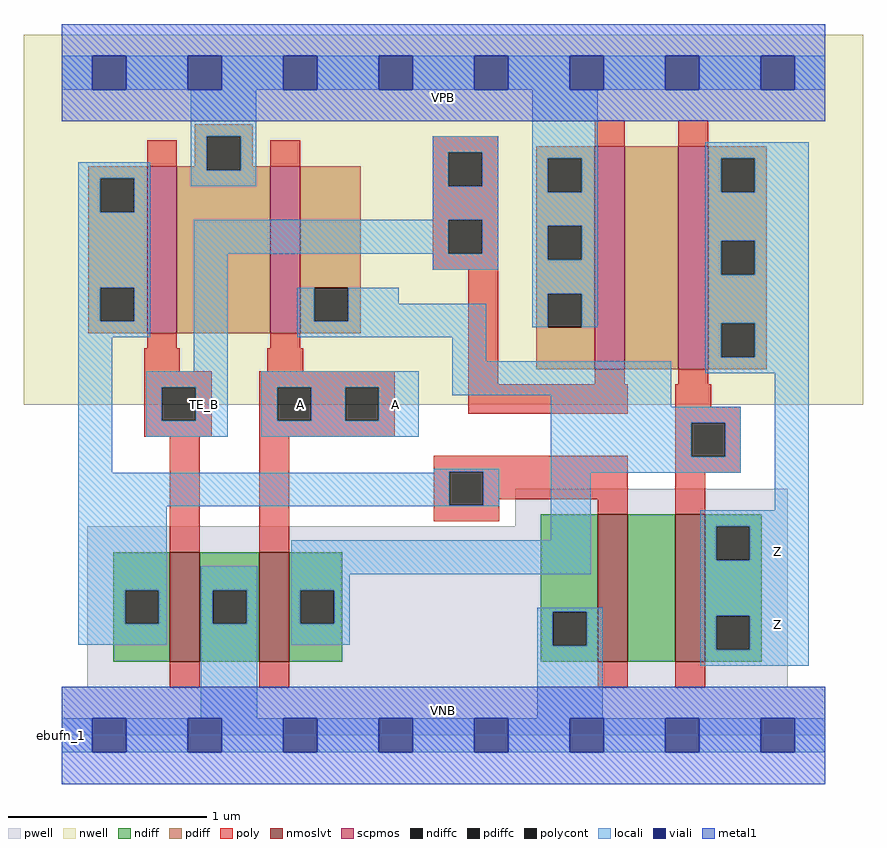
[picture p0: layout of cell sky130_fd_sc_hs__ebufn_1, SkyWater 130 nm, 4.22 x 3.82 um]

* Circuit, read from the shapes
.subckt sky130_fd_sc_hs__ebufn_1 A TE_B VGND VNB VPB VPWR Z
XM1 VGND TE_B n1 VNB sky130_fd_pr__nfet_01v8_lvt w=0.55 l=0.15
XM2 n2 A VGND VNB sky130_fd_pr__nfet_01v8_lvt w=0.55 l=0.15
XM3 n3 n1 VGND VNB sky130_fd_pr__nfet_01v8_lvt w=0.74 l=0.15
XM4 Z n2 n3 VNB sky130_fd_pr__nfet_01v8_lvt w=0.74 l=0.15
XM5 VPWR TE_B n1 VPB sky130_fd_pr__pfet_01v8 w=0.84 l=0.15
XM6 n2 A VPWR VPB sky130_fd_pr__pfet_01v8 w=0.84 l=0.15
XM7 n4 TE_B VPWR VPB sky130_fd_pr__pfet_01v8 w=1.12 l=0.15
XM8 Z n2 n4 VPB sky130_fd_pr__pfet_01v8 w=1.12 l=0.15
.ends

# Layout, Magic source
magic
tech sky130A
magscale 1 2
<< nwell >>
rect -38 332 806 704
<< pwell >>
rect 456 210 730 248
rect 26 49 730 210
rect 0 0 768 49
<< scpmos >>
rect 86 404 116 572
rect 210 404 240 572
rect 536 368 566 592
rect 620 368 650 592
<< nmoslvt >>
rect 109 74 139 184
rect 199 74 229 184
rect 539 74 569 222
rect 617 74 647 222
<< ndiff >>
rect 52 146 109 184
rect 52 112 64 146
rect 98 112 109 146
rect 52 74 109 112
rect 139 146 199 184
rect 139 112 152 146
rect 186 112 199 146
rect 139 74 199 112
rect 229 146 282 184
rect 229 112 240 146
rect 274 112 282 146
rect 229 74 282 112
rect 482 124 539 222
rect 482 90 494 124
rect 528 90 539 124
rect 482 74 539 90
rect 569 74 617 222
rect 647 210 704 222
rect 647 176 658 210
rect 692 176 704 210
rect 647 120 704 176
rect 647 86 658 120
rect 692 86 704 120
rect 647 74 704 86
<< pdiff >>
rect 134 602 192 614
rect 134 572 146 602
rect 27 560 86 572
rect 27 526 39 560
rect 73 526 86 560
rect 27 450 86 526
rect 27 416 39 450
rect 73 416 86 450
rect 27 404 86 416
rect 116 568 146 572
rect 180 572 192 602
rect 180 568 210 572
rect 116 404 210 568
rect 240 450 301 572
rect 240 416 254 450
rect 288 416 301 450
rect 240 404 301 416
rect 477 580 536 592
rect 477 546 489 580
rect 523 546 536 580
rect 477 512 536 546
rect 477 478 489 512
rect 523 478 536 512
rect 477 444 536 478
rect 477 410 489 444
rect 523 410 536 444
rect 477 368 536 410
rect 566 368 620 592
rect 650 580 709 592
rect 650 546 663 580
rect 697 546 709 580
rect 650 497 709 546
rect 650 463 663 497
rect 697 463 709 497
rect 650 414 709 463
rect 650 380 663 414
rect 697 380 709 414
rect 650 368 709 380
<< ndiffc >>
rect 64 112 98 146
rect 152 112 186 146
rect 240 112 274 146
rect 494 90 528 124
rect 658 176 692 210
rect 658 86 692 120
<< pdiffc >>
rect 39 526 73 560
rect 39 416 73 450
rect 146 568 180 602
rect 254 416 288 450
rect 489 546 523 580
rect 489 478 523 512
rect 489 410 523 444
rect 663 546 697 580
rect 663 463 697 497
rect 663 380 697 414
<< poly >>
rect 86 572 116 598
rect 210 572 240 598
rect 373 586 439 602
rect 536 592 566 618
rect 620 592 650 618
rect 373 552 389 586
rect 423 552 439 586
rect 373 518 439 552
rect 373 484 389 518
rect 423 484 439 518
rect 373 468 439 484
rect 86 389 116 404
rect 210 389 240 404
rect 83 366 119 389
rect 207 366 243 389
rect 83 350 151 366
rect 83 316 101 350
rect 135 316 151 350
rect 83 300 151 316
rect 199 350 335 366
rect 199 316 217 350
rect 251 316 285 350
rect 319 316 335 350
rect 409 353 439 468
rect 536 353 566 368
rect 620 353 650 368
rect 409 323 569 353
rect 617 330 653 353
rect 199 300 335 316
rect 617 314 683 330
rect 109 184 139 300
rect 199 184 229 300
rect 374 265 569 281
rect 374 231 390 265
rect 424 237 569 265
rect 424 231 440 237
rect 374 215 440 231
rect 539 222 569 237
rect 617 280 633 314
rect 667 280 683 314
rect 617 264 683 280
rect 617 222 647 264
rect 109 48 139 74
rect 199 48 229 74
rect 539 48 569 74
rect 617 48 647 74
<< polycont >>
rect 389 552 423 586
rect 389 484 423 518
rect 101 316 135 350
rect 217 316 251 350
rect 285 316 319 350
rect 390 231 424 265
rect 633 280 667 314
<< locali >>
rect 0 649 31 683
rect 65 649 127 683
rect 161 649 223 683
rect 257 649 319 683
rect 353 649 415 683
rect 449 649 511 683
rect 545 649 607 683
rect 641 649 703 683
rect 737 649 768 683
rect 130 602 196 649
rect 17 560 89 576
rect 17 526 39 560
rect 73 526 89 560
rect 130 568 146 602
rect 180 568 196 602
rect 130 552 196 568
rect 373 586 439 602
rect 373 552 389 586
rect 423 552 439 586
rect 17 450 89 526
rect 373 518 439 552
rect 17 416 39 450
rect 73 416 89 450
rect 17 400 89 416
rect 133 484 389 518
rect 423 484 439 518
rect 17 264 51 400
rect 133 366 167 484
rect 373 468 439 484
rect 473 580 539 649
rect 473 546 489 580
rect 523 546 539 580
rect 473 512 539 546
rect 473 478 489 512
rect 523 478 539 512
rect 237 416 254 450
rect 288 434 339 450
rect 473 444 539 478
rect 288 416 427 434
rect 237 400 427 416
rect 473 410 489 444
rect 523 410 539 444
rect 647 580 751 596
rect 647 546 663 580
rect 697 546 751 580
rect 647 497 751 546
rect 647 463 663 497
rect 697 463 751 497
rect 647 414 751 463
rect 393 376 427 400
rect 647 380 663 414
rect 697 380 751 414
rect 85 350 167 366
rect 85 316 101 350
rect 135 316 167 350
rect 85 300 167 316
rect 201 350 359 366
rect 201 316 217 350
rect 251 316 285 350
rect 319 316 359 350
rect 393 342 613 376
rect 647 364 751 380
rect 201 300 359 316
rect 492 330 613 342
rect 492 314 683 330
rect 492 280 633 314
rect 667 280 683 314
rect 374 265 440 268
rect 374 264 390 265
rect 17 231 390 264
rect 424 231 440 265
rect 17 230 440 231
rect 492 264 683 280
rect 17 146 106 230
rect 492 196 532 264
rect 717 226 751 364
rect 17 112 64 146
rect 98 112 106 146
rect 17 91 106 112
rect 140 146 197 170
rect 140 112 152 146
rect 186 112 197 146
rect 140 17 197 112
rect 231 162 532 196
rect 642 210 751 226
rect 642 176 658 210
rect 692 176 751 210
rect 231 146 290 162
rect 231 112 240 146
rect 274 112 290 146
rect 231 91 290 112
rect 478 124 544 128
rect 478 90 494 124
rect 528 90 544 124
rect 478 17 544 90
rect 642 120 751 176
rect 642 86 658 120
rect 692 86 751 120
rect 642 70 751 86
rect 0 -17 31 17
rect 65 -17 127 17
rect 161 -17 223 17
rect 257 -17 319 17
rect 353 -17 415 17
rect 449 -17 511 17
rect 545 -17 607 17
rect 641 -17 703 17
rect 737 -17 768 17
<< viali >>
rect 31 649 65 683
rect 127 649 161 683
rect 223 649 257 683
rect 319 649 353 683
rect 415 649 449 683
rect 511 649 545 683
rect 607 649 641 683
rect 703 649 737 683
rect 31 -17 65 17
rect 127 -17 161 17
rect 223 -17 257 17
rect 319 -17 353 17
rect 415 -17 449 17
rect 511 -17 545 17
rect 607 -17 641 17
rect 703 -17 737 17
<< metal1 >>
rect 0 683 768 715
rect 0 649 31 683
rect 65 649 127 683
rect 161 649 223 683
rect 257 649 319 683
rect 353 649 415 683
rect 449 649 511 683
rect 545 649 607 683
rect 641 649 703 683
rect 737 649 768 683
rect 0 617 768 649
rect 0 17 768 49
rect 0 -17 31 17
rect 65 -17 127 17
rect 161 -17 223 17
rect 257 -17 319 17
rect 353 -17 415 17
rect 449 -17 511 17
rect 545 -17 607 17
rect 641 -17 703 17
rect 737 -17 768 17
rect 0 -49 768 -17
<< labels >>
rlabel comment s 0 0 0 0 4 ebufn_1
flabel pwell s 0 0 768 49 0 FreeSans 200 0 0 0 VNB
port 4 nsew ground bidirectional
flabel nwell s 0 617 768 666 0 FreeSans 200 0 0 0 VPB
port 5 nsew power bidirectional
flabel metal1 s 0 617 768 666 0 FreeSans 340 0 0 0 VPWR
port 6 nsew power bidirectional
flabel metal1 s 0 0 768 49 0 FreeSans 340 0 0 0 VGND
port 3 nsew ground bidirectional
flabel locali s 223 316 257 350 0 FreeSans 340 0 0 0 A
port 1 nsew signal input
flabel locali s 319 316 353 350 0 FreeSans 340 0 0 0 A
port 1 nsew signal input
flabel locali s 703 94 737 128 0 FreeSans 340 0 0 0 Z
port 7 nsew signal output
flabel locali s 703 168 737 202 0 FreeSans 340 0 0 0 Z
port 7 nsew signal output
flabel locali s 127 316 161 350 0 FreeSans 340 0 0 0 TE_B
port 2 nsew signal input
<< properties >>
string LEFsite unit
string LEFclass CORE
string FIXED_BBOX 0 0 768 666
string GDS_FILE $PDKPATH/libs.ref/sky130_fd_sc_hs/gds/sky130_fd_sc_hs.gds
string LEFsymmetry X Y
string GDS_END 1293942
string GDS_START 1287552
<< end >>
